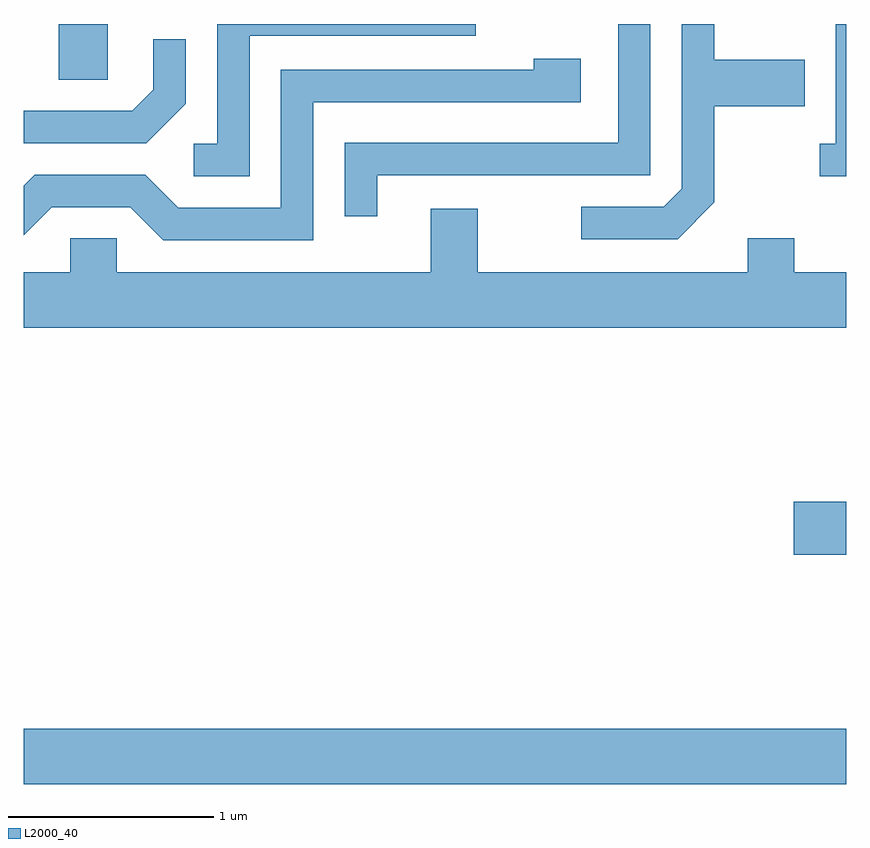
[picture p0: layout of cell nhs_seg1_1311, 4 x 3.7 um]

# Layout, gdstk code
import gdstk
lib = gdstk.Library(unit=1e-6, precision=1e-09)
def R(c, l, rs):  # rectangles x0, y0, x1, y1
    for r in rs: c.add(gdstk.rectangle(r[:2], r[2:], *l))
def P(c, l, *ps):  # polygons
    for p in ps: c.add(gdstk.Polygon(p, *l))
L2000_40 = (2000, 40)

nhs_seg1_1311 = lib.new_cell('nhs_seg1_1311')
R(nhs_seg1_1311, L2000_40, [(225.611,904.016,229.611,904.284), (229.356,905.131,229.611,905.389), (225.781,907.441,226.019,907.712)])
P(nhs_seg1_1311, L2000_40, [(228.969,906.844),(228.969,907.311),(229.409,907.311),(229.409,907.539),(228.969,907.539),(228.969,907.712),(228.811,907.712),(228.811,906.912),(228.724,906.824),(228.323,906.824),(228.323,906.666),(228.792,906.666)],
  [(227.329,906.976),(228.659,906.976),(228.659,907.712),(228.501,907.712),(228.501,907.134),(227.171,907.134),(227.171,906.778),(227.329,906.778)],
  [(229.611,907.712),(229.561,907.712),(229.561,907.129),(229.483,907.129),(229.483,906.971),(229.611,906.971)],
  [(226.709,907.656),(227.808,907.656),(227.808,907.712),(226.551,907.712),(226.551,907.129),(226.438,907.129),(226.438,906.971),(226.709,906.971)],
  [(226.399,907.324),(226.399,907.638),(226.241,907.638),(226.241,907.392),(226.139,907.289),(225.611,907.289),(225.611,907.131),(226.207,907.131)],
  [(227.019,907.331),(228.319,907.331),(228.319,907.544),(228.091,907.544),(228.091,907.489),(226.861,907.489),(226.861,906.819),(226.362,906.819),(226.202,906.979),(225.664,906.979),(225.611,906.926),(225.611,906.685),(225.747,906.821),(226.129,906.821),(226.289,906.661),(227.019,906.661)],
  [(229.611,906.504),(229.359,906.504),(229.359,906.669),(229.131,906.669),(229.131,906.504),(227.819,906.504),(227.819,906.814),(227.591,906.814),(227.591,906.504),(226.064,906.504),(226.064,906.669),(225.836,906.669),(225.836,906.504),(225.611,906.504),(225.611,906.236),(229.611,906.236)])

lib.write_gds('nhs_seg1_1311.gds')
